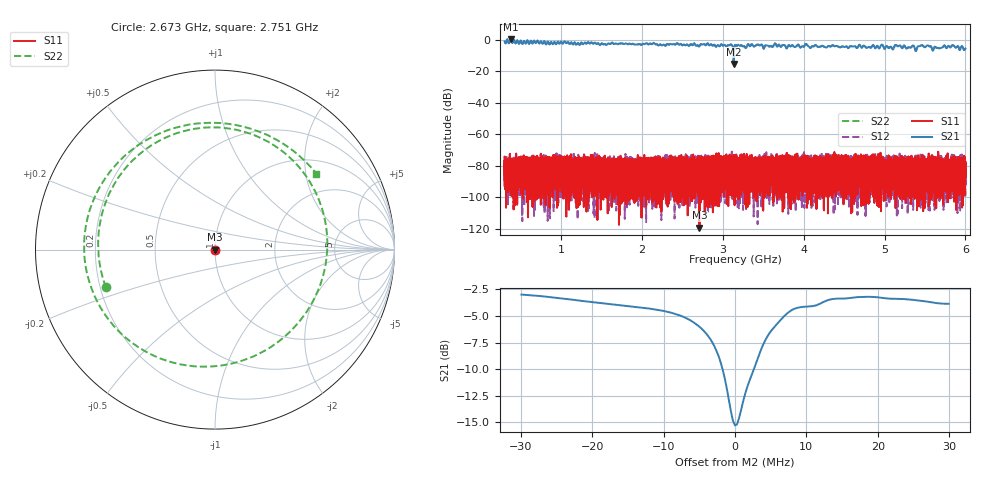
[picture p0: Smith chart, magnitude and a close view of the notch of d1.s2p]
!Agilent Technologies,N5230C,SG49000117,A.08.50.07
!Agilent N5230C: A.08.50.07
!Date: Monday, March 18, 2024 19:17:56
!Correction: S11(Off)
!S21(Off)
!S12(Off)
!S22(Off)
!S2P File: Measurements: S11, S21, S12, S22:
# Hz S  RI  R 50
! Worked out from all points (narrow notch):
!   20001 points, 300 MHz to 6 GHz, reference 50 ohm
!   highest |S21| = 0.46 dB at 373.8 MHz (marker M1); lowest = -15.3 dB at 3.134 GHz (marker M2)
!   notch at M2: 11.9 dB deep, 5.02 MHz wide at half that depth
!   lowest |S11| = -119.2 dB at 2.711 GHz (marker M3), VSWR 1.00, Z = 50 - j0.00011 ohm
!   |S11| at or under -10 dB: start of sweep to end of sweep
!   |S22| runs from -15.3 to 0.5 dB; largest |S21 - S12| = 1.1
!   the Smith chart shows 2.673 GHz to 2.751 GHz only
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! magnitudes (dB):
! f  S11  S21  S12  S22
! 300 MHz  -82.3  -0.9  -79.2  -0.9
! 373.8 MHz  -81.5  0.5  -75.9  0.5
! 1.25 GHz  -78.7  -1.7  -83.0  -1.7
! 2.2 GHz  -80.3  -3.5  -82.0  -3.5
! 2.711 GHz  -119.2  -4.0  -81.1  -4.0
! 3.085 GHz  -84.8  -3.3  -81.3  -3.3
! 3.134 GHz  -89.8  -15.3  -90.4  -15.3
! 3.15 GHz  -78.6  -3.3  -77.9  -3.3
! 3.174 GHz  -75.2  -3.7  -95.1  -3.7
! 3.27 GHz  -84.8  -4.3  -79.6  -4.2
! 3.455 GHz  -86.7  -3.5  -82.4  -3.5
! 3.517 GHz  -80.1  -4.3  -76.8  -4.2
! 3.976 GHz  -78.7  -4.1  -79.9  -4.0
! 4.035 GHz  -93.6  -2.9  -87.0  -2.8
! 4.1 GHz  -84.2  -4.2  -82.8  -4.1
! 5.05 GHz  -73.3  -5.2  -77.0  -5.2
! 5.161 GHz  -76.7  -4.0  -81.1  -4.0
! 5.395 GHz  -89.4  -6.3  -86.0  -6.3
! 5.455 GHz  -82.0  -3.3  -93.3  -3.4
! 5.611 GHz  -82.2  -5.3  -74.3  -5.3
! 5.844 GHz  -80.7  -3.4  -90.9  -3.4
! 6 GHz  -81.8  -5.5  -82.7  -5.5
